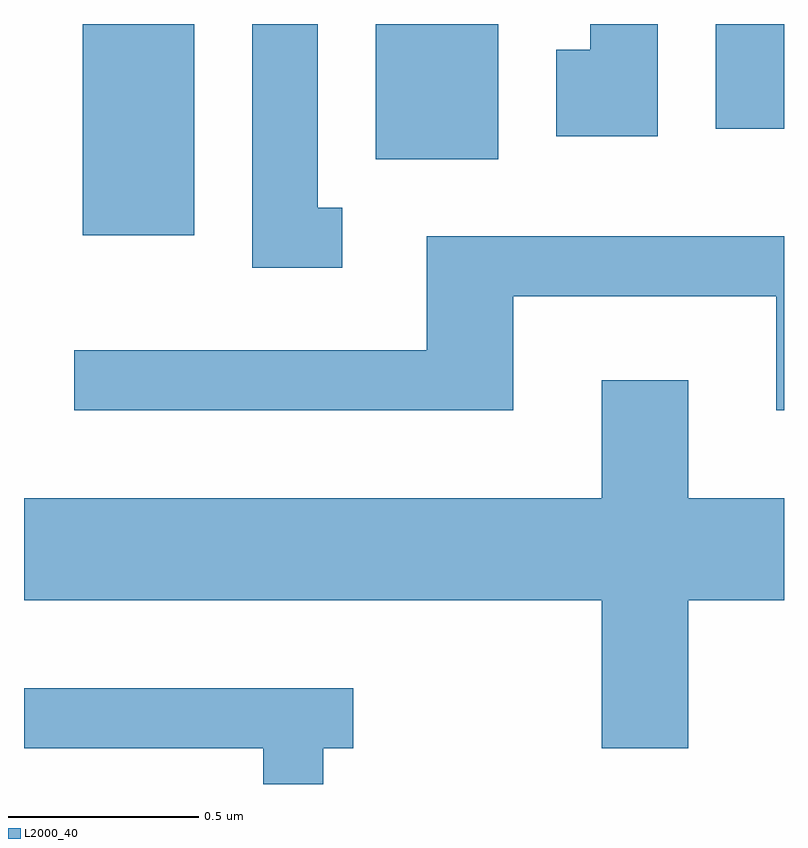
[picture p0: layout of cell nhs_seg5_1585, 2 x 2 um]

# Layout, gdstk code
import gdstk
lib = gdstk.Library(unit=1e-6, precision=1e-09)
def R(c, l, rs):  # rectangles x0, y0, x1, y1
    for r in rs: c.add(gdstk.rectangle(r[:2], r[2:], *l))
def P(c, l, *ps):  # polygons
    for p in ps: c.add(gdstk.Polygon(p, *l))
L2000_40 = (2000, 40)

nhs_seg5_1585 = lib.new_cell('nhs_seg5_1585')
R(nhs_seg5_1585, L2000_40, [(196.766,1475.516,197.059,1476.072), (197.536,1475.716,197.859,1476.072), (198.431,1475.796,198.611,1476.072)])
P(nhs_seg5_1585, L2000_40, [(198.279,1476.072),(198.101,1476.072),(198.101,1476.004),(198.011,1476.004),(198.011,1475.776),(198.279,1475.776)],
  [(197.448,1475.589),(197.384,1475.589),(197.384,1476.072),(197.211,1476.072),(197.211,1475.431),(197.448,1475.431)],
  [(197.899,1475.356),(198.591,1475.356),(198.591,1475.056),(198.611,1475.056),(198.611,1475.514),(197.671,1475.514),(197.671,1475.214),(196.743,1475.214),(196.743,1475.056),(197.899,1475.056)],
  [(198.359,1474.556),(198.611,1474.556),(198.611,1474.824),(198.359,1474.824),(198.359,1475.134),(198.131,1475.134),(198.131,1474.824),(196.611,1474.824),(196.611,1474.556),(198.131,1474.556),(198.131,1474.166),(198.359,1474.166)],
  [(197.399,1474.166),(197.478,1474.166),(197.478,1474.324),(196.611,1474.324),(196.611,1474.166),(197.241,1474.166),(197.241,1474.072),(197.399,1474.072)])

lib.write_gds('nhs_seg5_1585.gds')
